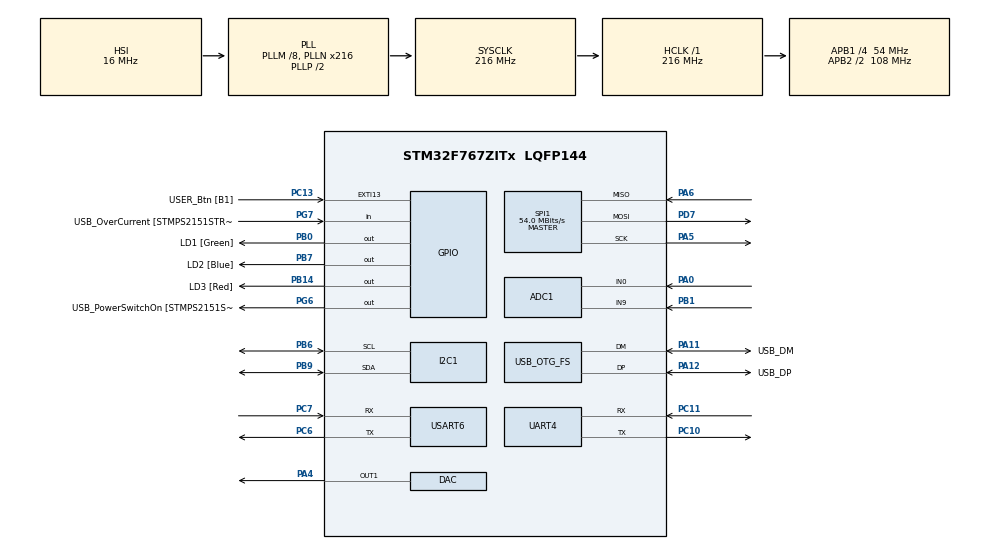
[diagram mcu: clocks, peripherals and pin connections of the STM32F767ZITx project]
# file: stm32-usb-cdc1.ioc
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ADC1.Channel-0\#ChannelRegularConversion=ADC_CHANNEL_0
ADC1.NbrOfConversionFlag=1
ADC1.Rank-0\#ChannelRegularConversion=1
ADC1.SamplingTime-0\#ChannelRegularConversion=ADC_SAMPLETIME_3CYCLES
ADC1.master=1
Dma.Request0=USART6_RX
Dma.Request1=USART6_TX
Dma.Request2=UART4_RX
Dma.Request3=UART4_TX
Dma.UART4_RX.2.Direction=DMA_PERIPH_TO_MEMORY
Dma.UART4_RX.2.FIFOMode=DMA_FIFOMODE_ENABLE
Dma.UART4_RX.2.FIFOThreshold=DMA_FIFO_THRESHOLD_FULL
Dma.UART4_RX.2.Instance=DMA1_Stream2
Dma.UART4_RX.2.MemBurst=DMA_MBURST_SINGLE
Dma.UART4_RX.2.MemDataAlignment=DMA_MDATAALIGN_BYTE
Dma.UART4_RX.2.MemInc=DMA_MINC_ENABLE
Dma.UART4_RX.2.Mode=DMA_NORMAL
Dma.UART4_RX.2.PeriphBurst=DMA_PBURST_SINGLE
Dma.UART4_RX.2.PeriphDataAlignment=DMA_PDATAALIGN_BYTE
Dma.UART4_RX.2.PeriphInc=DMA_PINC_DISABLE
Dma.UART4_RX.2.Priority=DMA_PRIORITY_LOW
Dma.UART4_TX.3.Direction=DMA_MEMORY_TO_PERIPH
Dma.UART4_TX.3.FIFOMode=DMA_FIFOMODE_ENABLE
Dma.UART4_TX.3.FIFOThreshold=DMA_FIFO_THRESHOLD_FULL
Dma.UART4_TX.3.Instance=DMA1_Stream4
Dma.UART4_TX.3.MemBurst=DMA_MBURST_SINGLE
Dma.UART4_TX.3.MemDataAlignment=DMA_MDATAALIGN_BYTE
Dma.UART4_TX.3.MemInc=DMA_MINC_ENABLE
Dma.UART4_TX.3.Mode=DMA_NORMAL
Dma.UART4_TX.3.PeriphBurst=DMA_PBURST_SINGLE
Dma.UART4_TX.3.PeriphDataAlignment=DMA_PDATAALIGN_BYTE
Dma.UART4_TX.3.PeriphInc=DMA_PINC_DISABLE
Dma.UART4_TX.3.Priority=DMA_PRIORITY_LOW
Dma.USART6_RX.0.Direction=DMA_PERIPH_TO_MEMORY
Dma.USART6_RX.0.FIFOMode=DMA_FIFOMODE_ENABLE
Dma.USART6_RX.0.FIFOThreshold=DMA_FIFO_THRESHOLD_FULL
Dma.USART6_RX.0.Instance=DMA2_Stream1
Dma.USART6_RX.0.MemBurst=DMA_MBURST_SINGLE
Dma.USART6_RX.0.MemDataAlignment=DMA_MDATAALIGN_BYTE
Dma.USART6_RX.0.MemInc=DMA_MINC_ENABLE
Dma.USART6_RX.0.Mode=DMA_NORMAL
Dma.USART6_RX.0.PeriphBurst=DMA_PBURST_SINGLE
Dma.USART6_RX.0.PeriphDataAlignment=DMA_PDATAALIGN_BYTE
Dma.USART6_RX.0.PeriphInc=DMA_PINC_DISABLE
Dma.USART6_RX.0.Priority=DMA_PRIORITY_LOW
Dma.USART6_TX.1.Direction=DMA_MEMORY_TO_PERIPH
Dma.USART6_TX.1.FIFOMode=DMA_FIFOMODE_ENABLE
Dma.USART6_TX.1.FIFOThreshold=DMA_FIFO_THRESHOLD_FULL
Dma.USART6_TX.1.Instance=DMA2_Stream6
Dma.USART6_TX.1.MemBurst=DMA_MBURST_SINGLE
Dma.USART6_TX.1.MemDataAlignment=DMA_MDATAALIGN_BYTE
Dma.USART6_TX.1.MemInc=DMA_MINC_ENABLE
Dma.USART6_TX.1.Mode=DMA_NORMAL
Dma.USART6_TX.1.PeriphBurst=DMA_PBURST_SINGLE
Dma.USART6_TX.1.PeriphDataAlignment=DMA_PDATAALIGN_BYTE
Dma.USART6_TX.1.PeriphInc=DMA_PINC_DISABLE
Dma.USART6_TX.1.Priority=DMA_PRIORITY_LOW
I2C1.GeneralCallMode=I2C_GENERALCALL_ENABLE
I2C1.Timing=0x20404768
Mcu.Family=STM32F7
Mcu.Name=STM32F767ZITx
Mcu.Package=LQFP144
NVIC.DMA1_Stream2_IRQn=true\:0\:0\:false\:false\:true\:false\:true
NVIC.DMA1_Stream4_IRQn=true\:0\:0\:false\:false\:true\:false\:true
NVIC.DMA2_Stream1_IRQn=true\:0\:0\:false\:false\:true\:false\:true
NVIC.DMA2_Stream6_IRQn=true\:0\:0\:false\:false\:true\:false\:true
NVIC.OTG_FS_IRQn=true\:0\:0\:false\:false\:true\:false\:true
NVIC.PriorityGroup=NVIC_PRIORITYGROUP_4
NVIC.UART4_IRQn=true\:0\:0\:false\:false\:true\:true\:true
NVIC.USART6_IRQn=true\:0\:0\:false\:false\:true\:true\:true
PA0/WKUP.Signal=ADCx_IN0
PA1.GPIO_Label=RMII_REF_CLK [LAN8742A-CZ-TR_REFCLK0]
PA1.Signal=ETH_REF_CLK
PA11.GPIO_Label=USB_DM
PA11.Mode=Device_Only
PA11.Signal=USB_OTG_FS_DM
PA12.GPIO_Label=USB_DP
PA12.Mode=Device_Only
PA12.Signal=USB_OTG_FS_DP
PA13.GPIO_Label=TMS
PA13.Signal=SYS_JTMS-SWDIO
PA14.GPIO_Label=TCK
PA14.Signal=SYS_JTCK-SWCLK
PA2.GPIO_Label=RMII_MDIO [LAN8742A-CZ-TR_MDIO]
PA2.Signal=ETH_MDIO
PA4.Signal=COMP_DAC1_group
PA5.Mode=Full_Duplex_Master
PA5.Signal=SPI1_SCK
PA6.Mode=Full_Duplex_Master
PA6.Signal=SPI1_MISO
PA7.GPIO_Label=RMII_CRS_DV [LAN8742A-CZ-TR_CRS_DV]
PA7.Signal=ETH_CRS_DV
PA8.GPIO_Label=USB_SOF [TP1]
PA8.Signal=USB_OTG_FS_SOF
PB0.GPIO_Label=LD1 [Green]
PB0.Signal=GPIO_Output
PB1.Signal=ADCx_IN9
PB13.GPIO_Label=RMII_TXD1 [LAN8742A-CZ-TR_TXD1]
PB13.Signal=ETH_TXD1
PB14.GPIO_Label=LD3 [Red]
PB14.Signal=GPIO_Output
PB3.GPIO_Label=SW0
PB3.Signal=SYS_JTDO-SWO
PB6.Mode=I2C
PB6.Signal=I2C1_SCL
PB7.GPIO_Label=LD2 [Blue]
PB7.Signal=GPIO_Output
PB9.Mode=I2C
PB9.Signal=I2C1_SDA
PC1.GPIO_Label=RMII_MDC [LAN8742A-CZ-TR_MDC]
PC1.Signal=ETH_MDC
PC10.Mode=Asynchronous
PC10.Signal=UART4_TX
PC11.Mode=Asynchronous
PC11.Signal=UART4_RX
PC13.GPIO_Label=USER_Btn [B1]
PC13.Signal=GPXTI13
PC14/OSC32_IN.Signal=RCC_OSC32_IN
PC15/OSC32_OUT.Signal=RCC_OSC32_OUT
PC4.GPIO_Label=RMII_RXD0 [LAN8742A-CZ-TR_RXD0]
PC4.Signal=ETH_RXD0
PC5.GPIO_Label=RMII_RXD1 [LAN8742A-CZ-TR_RXD1]
PC5.Signal=ETH_RXD1
PC6.Mode=Asynchronous
PC6.Signal=USART6_TX
PC7.Mode=Asynchronous
PC7.Signal=USART6_RX
PD7.Mode=Full_Duplex_Master
PD7.Signal=SPI1_MOSI
PD8.GPIO_Label=STLK_RX [STM32F103CBT6_PA3]
PD8.Signal=USART3_TX
PD9.GPIO_Label=STLK_TX [STM32F103CBT6_PA2]
PD9.Signal=USART3_RX
PG11.GPIO_Label=RMII_TX_EN [LAN8742A-CZ-TR_TXEN]
PG11.Signal=ETH_TX_EN
PG13.GPIO_Label=RMII_TXD0 [LAN8742A-CZ-TR_TXD0]
PG13.Signal=ETH_TXD0
PG6.GPIO_Label=USB_PowerSwitchOn [STMPS2151STR_EN]
PG6.Signal=GPIO_Output
PG7.GPIO_Label=USB_OverCurrent [STMPS2151STR_FAULT]
PG7.Signal=GPIO_Input
PH0/OSC_IN.GPIO_Label=MCO [STM32F103CBT6_PA8]
PH0/OSC_IN.Mode=HSE-External-Clock-Source
PH0/OSC_IN.Signal=RCC_OSC_IN
PH1/OSC_OUT.Mode=HSE-External-Clock-Source
PH1/OSC_OUT.Signal=RCC_OSC_OUT
ProjectManager.HeapSize=0x200
ProjectManager.StackSize=0x400
ProjectManager.TargetToolchain=Makefile
RCC.48MHZClocksFreq_Value=24000000
RCC.AHBFreq_Value=216000000
RCC.APB1CLKDivider=RCC_HCLK_DIV4
RCC.APB1Freq_Value=54000000
RCC.APB1TimFreq_Value=108000000
RCC.APB2CLKDivider=RCC_HCLK_DIV2
RCC.APB2Freq_Value=108000000
RCC.APB2TimFreq_Value=216000000
RCC.CortexFreq_Value=216000000
RCC.HCLKFreq_Value=216000000
RCC.HSE_VALUE=8000000
RCC.HSI_VALUE=16000000
RCC.LSE_VALUE=32768
RCC.PLL48CLockSelection=RCC_CLK48SOURCE_PLLSAIP
RCC.PLLM=8
RCC.PLLMUL=RCC_PLL_MUL9
RCC.PLLN=432
RCC.PLLQ=9
RCC.PLLSAIN=384
RCC.PLLSAIP=RCC_PLLSAIP_DIV8
RCC.PRESCALERUSB=RCC_USBCLKSOURCE_PLL_DIV1_5
RCC.SYSCLKFreq_VALUE=216000000
RCC.SYSCLKSource=RCC_SYSCLKSOURCE_PLLCLK
RCC.SYSCLKSourceVirtual=RCC_SYSCLKSOURCE_PLLCLK
RCC.USBFreq_Value=48000000
RCC.VCOOutputFreq_Value=432000000
SH.ADCx_IN0.0=ADC1_IN0,IN0
SH.ADCx_IN9.0=ADC1_IN9,IN9
SH.COMP_DAC1_group.0=DAC_OUT1,DAC_OUT1
SPI1.CalculateBaudRate=54.0 MBits/s
SPI1.Direction=SPI_DIRECTION_2LINES
SPI1.Mode=SPI_MODE_MASTER
SPI1.VirtualType=VM_MASTER
USART6.VirtualMode-Asynchronous=VM_ASYNC
USB_DEVICE.CLASS_NAME_FS=CDC
USB_DEVICE.VirtualMode-CDC_FS=Cdc
USB_DEVICE.VirtualModeFS=Cdc_FS
USB_OTG_FS.VirtualMode=Device_Only
VP_USB_DEVICE_VS_USB_DEVICE_CDC_FS.Mode=CDC_FS
board=NUCLEO-F767ZI

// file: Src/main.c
/* USER CODE BEGIN Header */
/**
  ******************************************************************************
  * @file           : main.c
  * @brief          : Main program body
  ******************************************************************************
  * @attention
  *
  * <h2><center>&copy; Copyright (c) 2019 STMicroelectronics.
  * All rights reserved.</center></h2>
  *
  * This software component is licensed by ST under Ultimate Liberty license
  * SLA0044, the "License"; You may not use this file except in compliance with
  * the License. You may obtain a copy of the License at:
  *                             www.st.com/SLA0044
  *
  ******************************************************************************
  */
/* USER CODE END Header */
#include "main.h"
#include "usb_device.h"
#include "usbd_iad_if.h"

ADC_HandleTypeDef hadc1;

DAC_HandleTypeDef hdac;

I2C_HandleTypeDef hi2c1;

SPI_HandleTypeDef hspi1;

UART_HandleTypeDef huart4;
UART_HandleTypeDef huart6;
DMA_HandleTypeDef hdma_uart4_rx;
DMA_HandleTypeDef hdma_uart4_tx;
DMA_HandleTypeDef hdma_usart6_rx;
DMA_HandleTypeDef hdma_usart6_tx;

void SystemClock_Config(void);
static void MX_GPIO_Init(void);
static void MX_DMA_Init(void);
static void MX_ADC1_Init(void);
static void MX_DAC_Init(void);
static void MX_I2C1_Init(void);
static void MX_USART6_UART_Init(void);
static void MX_SPI1_Init(void);
static void MX_UART4_Init(void);

int main(void)
{

  /* MCU Configuration--------------------------------------------------------*/

  /* Reset of all peripherals, Initializes the Flash interface and the Systick. */
  HAL_Init();

  /* Configure the system clock */
  SystemClock_Config();

  /* Initialize all configured peripherals */
  MX_GPIO_Init();
  MX_DMA_Init();
  MX_USB_DEVICE_Init();
  MX_ADC1_Init();
  MX_DAC_Init();
  MX_I2C1_Init();
  MX_USART6_UART_Init();
  MX_SPI1_Init();
  MX_UART4_Init();

  /* Infinite loop */
  /* USER CODE BEGIN WHILE */

	uint8_t msg1[16], msg2[16];
	uint32_t totalLen;
	uint8_t result;

  HAL_Init();

	while (1) {
    /* USER CODE END WHILE */

    /* USER CODE BEGIN 3 */

		totalLen = 16;
		msg1[0] = '.';
		result = CDC_Receive_VCP1_FS(msg1, &totalLen);

		if (result == USBD_OK && totalLen != 0) {
//		    ch = result;
//			IAD_CDC2_Transmit_FS(msg1, totalLen);
//            MX_USART_Putc(USART3, msg1);
		HAL_Delay(100);
}
		totalLen = 16;
		msg2[0] = '.';
		result = CDC_Receive_VCP2_FS(msg2, &totalLen);
		if (result == USBD_OK && totalLen != 0) {
			IAD_CDC1_Transmit_FS(msg2, totalLen);

		HAL_Delay(100);
      }
//			if (ch != 0) {
				/* Send character to USART */
				//uint8_t buffer[4];
//                HAL_USART_Transmit(&husart6, &ch, 1, 100);
//			}

			/* CHeck if any character received from USART */
//			while (!USART_BufferEmpty(USART3)) {
				/* Send data over USB CDC */
//				IAD_CDC1_Transmit_FS(hUsbDeviceFS, MX_USART_Getc(USART3));
//		}

    }
  /* USER CODE END 3 */
}

void SystemClock_Config(void)
{
  RCC_OscInitTypeDef RCC_OscInitStruct = {0};
  RCC_ClkInitTypeDef RCC_ClkInitStruct = {0};
  RCC_PeriphCLKInitTypeDef PeriphClkInitStruct = {0};

  /** Configure the main internal regulator output voltage
  */
  __HAL_RCC_PWR_CLK_ENABLE();
  __HAL_PWR_VOLTAGESCALING_CONFIG(PWR_REGULATOR_VOLTAGE_SCALE1);
  /** Initializes the RCC Oscillators according to the specified parameters
  * in the RCC_OscInitTypeDef structure.
  */
  RCC_OscInitStruct.OscillatorType = RCC_OSCILLATORTYPE_HSI;
  RCC_OscInitStruct.HSIState = RCC_HSI_ON;
  RCC_OscInitStruct.HSICalibrationValue = 16;
  RCC_OscInitStruct.PLL.PLLState = RCC_PLL_ON;
  RCC_OscInitStruct.PLL.PLLSource = RCC_PLLSOURCE_HSI;
  RCC_OscInitStruct.PLL.PLLM = 8;
  RCC_OscInitStruct.PLL.PLLN = 216;
  RCC_OscInitStruct.PLL.PLLP = RCC_PLLP_DIV2;
  RCC_OscInitStruct.PLL.PLLQ = 9;
  HAL_RCC_OscConfig(&RCC_OscInitStruct);

     /* Activate the Over-Drive mode */
  HAL_PWREx_EnableOverDrive();

   /* Initializes the CPU, AHB and APB busses clocks */
  RCC_ClkInitStruct.ClockType = RCC_CLOCKTYPE_HCLK | RCC_CLOCKTYPE_SYSCLK
                                | RCC_CLOCKTYPE_PCLK1 | RCC_CLOCKTYPE_PCLK2;
  RCC_ClkInitStruct.SYSCLKSource = RCC_SYSCLKSOURCE_PLLCLK;
  RCC_ClkInitStruct.AHBCLKDivider = RCC_SYSCLK_DIV1;
  RCC_ClkInitStruct.APB1CLKDivider = RCC_HCLK_DIV4;
  RCC_ClkInitStruct.APB2CLKDivider = RCC_HCLK_DIV2;

  HAL_RCC_ClockConfig(&RCC_ClkInitStruct, FLASH_LATENCY_7);
  PeriphClkInitStruct.PeriphClockSelection = RCC_PERIPHCLK_CLK48;
  PeriphClkInitStruct.Clk48ClockSelection = RCC_CLK48SOURCE_PLL;

  HAL_RCCEx_PeriphCLKConfig(&PeriphClkInitStruct);

  HAL_SYSTICK_Config(HAL_RCC_GetHCLKFreq()/1000);

  HAL_SYSTICK_CLKSourceConfig(SYSTICK_CLKSOURCE_HCLK);

  HAL_NVIC_SetPriority(SysTick_IRQn, 0, 0);
}

static void MX_ADC1_Init(void)
{

  ADC_ChannelConfTypeDef sConfig = {0};

  /** Configure the global features of the ADC (Clock, Resolution, Data Alignment and number of conversion)
  */
  hadc1.Instance = ADC1;
  hadc1.Init.ClockPrescaler = ADC_CLOCK_SYNC_PCLK_DIV4;
  hadc1.Init.Resolution = ADC_RESOLUTION_12B;
  hadc1.Init.ScanConvMode = ADC_SCAN_DISABLE;
  hadc1.Init.ContinuousConvMode = DISABLE;
  hadc1.Init.DiscontinuousConvMode = DISABLE;
  hadc1.Init.ExternalTrigConvEdge = ADC_EXTERNALTRIGCONVEDGE_NONE;
  hadc1.Init.ExternalTrigConv = ADC_SOFTWARE_START;
  hadc1.Init.DataAlign = ADC_DATAALIGN_RIGHT;
  hadc1.Init.NbrOfConversion = 1;
  hadc1.Init.DMAContinuousRequests = DISABLE;
  hadc1.Init.EOCSelection = ADC_EOC_SINGLE_CONV;
  if (HAL_ADC_Init(&hadc1) != HAL_OK)
  {
    Error_Handler();
  }
  /** Configure for the selected ADC regular channel its corresponding rank in the sequencer and its sample time.
  */
  sConfig.Channel = ADC_CHANNEL_0;
  sConfig.Rank = ADC_REGULAR_RANK_1;
  sConfig.SamplingTime = ADC_SAMPLETIME_3CYCLES;
  if (HAL_ADC_ConfigChannel(&hadc1, &sConfig) != HAL_OK)
  {
    Error_Handler();
  }

}

static void MX_DAC_Init(void)
{

  DAC_ChannelConfTypeDef sConfig = {0};

  /** DAC Initialization
  */
  hdac.Instance = DAC;
  if (HAL_DAC_Init(&hdac) != HAL_OK)
  {
    Error_Handler();
  }
  /** DAC channel OUT1 config
  */
  sConfig.DAC_Trigger = DAC_TRIGGER_NONE;
  sConfig.DAC_OutputBuffer = DAC_OUTPUTBUFFER_ENABLE;
  if (HAL_DAC_ConfigChannel(&hdac, &sConfig, DAC_CHANNEL_1) != HAL_OK)
  {
    Error_Handler();
  }

}

static void MX_I2C1_Init(void)
{

  hi2c1.Instance = I2C1;
  hi2c1.Init.Timing = 0x20404768;
  hi2c1.Init.OwnAddress1 = 0;
  hi2c1.Init.AddressingMode = I2C_ADDRESSINGMODE_7BIT;
  hi2c1.Init.DualAddressMode = I2C_DUALADDRESS_DISABLE;
  hi2c1.Init.OwnAddress2 = 0;
  hi2c1.Init.OwnAddress2Masks = I2C_OA2_NOMASK;
  hi2c1.Init.GeneralCallMode = I2C_GENERALCALL_ENABLE;
  hi2c1.Init.NoStretchMode = I2C_NOSTRETCH_DISABLE;
  if (HAL_I2C_Init(&hi2c1) != HAL_OK)
  {
    Error_Handler();
  }
  /** Configure Analogue filter
  */
  if (HAL_I2CEx_ConfigAnalogFilter(&hi2c1, I2C_ANALOGFILTER_ENABLE) != HAL_OK)
  {
    Error_Handler();
  }
  /** Configure Digital filter
  */
  if (HAL_I2CEx_ConfigDigitalFilter(&hi2c1, 0) != HAL_OK)
  {
    Error_Handler();
  }

}

static void MX_SPI1_Init(void)
{

  /* SPI1 parameter configuration*/
  hspi1.Instance = SPI1;
  hspi1.Init.Mode = SPI_MODE_MASTER;
  hspi1.Init.Direction = SPI_DIRECTION_2LINES;
  hspi1.Init.DataSize = SPI_DATASIZE_4BIT;
  hspi1.Init.CLKPolarity = SPI_POLARITY_LOW;
  hspi1.Init.CLKPhase = SPI_PHASE_1EDGE;
  hspi1.Init.NSS = SPI_NSS_SOFT;
  hspi1.Init.BaudRatePrescaler = SPI_BAUDRATEPRESCALER_2;
  hspi1.Init.FirstBit = SPI_FIRSTBIT_MSB;
  hspi1.Init.TIMode = SPI_TIMODE_DISABLE;
  hspi1.Init.CRCCalculation = SPI_CRCCALCULATION_DISABLE;
  hspi1.Init.CRCPolynomial = 7;
  hspi1.Init.CRCLength = SPI_CRC_LENGTH_DATASIZE;
  hspi1.Init.NSSPMode = SPI_NSS_PULSE_ENABLE;
  if (HAL_SPI_Init(&hspi1) != HAL_OK)
  {
    Error_Handler();
  }

}

static void MX_UART4_Init(void)
{

  huart4.Instance = UART4;
  huart4.Init.BaudRate = 115200;
  huart4.Init.WordLength = UART_WORDLENGTH_8B;
  huart4.Init.StopBits = UART_STOPBITS_1;
  huart4.Init.Parity = UART_PARITY_NONE;
  huart4.Init.Mode = UART_MODE_TX_RX;
  huart4.Init.HwFlowCtl = UART_HWCONTROL_NONE;
  huart4.Init.OverSampling = UART_OVERSAMPLING_16;
  huart4.Init.OneBitSampling = UART_ONE_BIT_SAMPLE_DISABLE;
  huart4.AdvancedInit.AdvFeatureInit = UART_ADVFEATURE_NO_INIT;
  if (HAL_UART_Init(&huart4) != HAL_OK)
  {
    Error_Handler();
  }

}

static void MX_USART6_UART_Init(void)
{

  huart6.Instance = USART6;
  huart6.Init.BaudRate = 115200;
  huart6.Init.WordLength = UART_WORDLENGTH_8B;
  huart6.Init.StopBits = UART_STOPBITS_1;
  huart6.Init.Parity = UART_PARITY_NONE;
  huart6.Init.Mode = UART_MODE_TX_RX;
  huart6.Init.HwFlowCtl = UART_HWCONTROL_NONE;
  huart6.Init.OverSampling = UART_OVERSAMPLING_16;
  huart6.Init.OneBitSampling = UART_ONE_BIT_SAMPLE_DISABLE;
  huart6.AdvancedInit.AdvFeatureInit = UART_ADVFEATURE_NO_INIT;
  if (HAL_UART_Init(&huart6) != HAL_OK)
  {
    Error_Handler();
  }

}

static void MX_DMA_Init(void)
{

  /* DMA controller clock enable */
  __HAL_RCC_DMA2_CLK_ENABLE();
  __HAL_RCC_DMA1_CLK_ENABLE();

  /* DMA interrupt init */
  /* DMA1_Stream2_IRQn interrupt configuration */
  HAL_NVIC_SetPriority(DMA1_Stream2_IRQn, 0, 0);
  HAL_NVIC_EnableIRQ(DMA1_Stream2_IRQn);
  /* DMA1_Stream4_IRQn interrupt configuration */
  HAL_NVIC_SetPriority(DMA1_Stream4_IRQn, 0, 0);
  HAL_NVIC_EnableIRQ(DMA1_Stream4_IRQn);
  /* DMA2_Stream1_IRQn interrupt configuration */
  HAL_NVIC_SetPriority(DMA2_Stream1_IRQn, 0, 0);
  HAL_NVIC_EnableIRQ(DMA2_Stream1_IRQn);
  /* DMA2_Stream6_IRQn interrupt configuration */
  HAL_NVIC_SetPriority(DMA2_Stream6_IRQn, 0, 0);
  HAL_NVIC_EnableIRQ(DMA2_Stream6_IRQn);

}

static void MX_GPIO_Init(void)
{
  GPIO_InitTypeDef GPIO_InitStruct = {0};

  /* GPIO Ports Clock Enable */
  __HAL_RCC_GPIOC_CLK_ENABLE();
  __HAL_RCC_GPIOH_CLK_ENABLE();
  __HAL_RCC_GPIOA_CLK_ENABLE();
  __HAL_RCC_GPIOB_CLK_ENABLE();
  __HAL_RCC_GPIOD_CLK_ENABLE();
  __HAL_RCC_GPIOG_CLK_ENABLE();

  /*Configure GPIO pin Output Level */
  HAL_GPIO_WritePin(GPIOB, LD1_Pin|LD3_Pin|LD2_Pin, GPIO_PIN_RESET);

  /*Configure GPIO pin Output Level */
  HAL_GPIO_WritePin(USB_PowerSwitchOn_GPIO_Port, USB_PowerSwitchOn_Pin, GPIO_PIN_RESET);

  /*Configure GPIO pin : USER_Btn_Pin */
  GPIO_InitStruct.Pin = USER_Btn_Pin;
  GPIO_InitStruct.Mode = GPIO_MODE_IT_RISING;
  GPIO_InitStruct.Pull = GPIO_NOPULL;
  HAL_GPIO_Init(USER_Btn_GPIO_Port, &GPIO_InitStruct);

  /*Configure GPIO pins : RMII_MDC_Pin RMII_RXD0_Pin RMII_RXD1_Pin */
  GPIO_InitStruct.Pin = RMII_MDC_Pin|RMII_RXD0_Pin|RMII_RXD1_Pin;
  GPIO_InitStruct.Mode = GPIO_MODE_AF_PP;
  GPIO_InitStruct.Pull = GPIO_NOPULL;
  GPIO_InitStruct.Speed = GPIO_SPEED_FREQ_VERY_HIGH;
  GPIO_InitStruct.Alternate = GPIO_AF11_ETH;
  HAL_GPIO_Init(GPIOC, &GPIO_InitStruct);

  /*Configure GPIO pins : RMII_REF_CLK_Pin RMII_MDIO_Pin RMII_CRS_DV_Pin */
  GPIO_InitStruct.Pin = RMII_REF_CLK_Pin|RMII_MDIO_Pin|RMII_CRS_DV_Pin;
  GPIO_InitStruct.Mode = GPIO_MODE_AF_PP;
  GPIO_InitStruct.Pull = GPIO_NOPULL;
  GPIO_InitStruct.Speed = GPIO_SPEED_FREQ_VERY_HIGH;
  GPIO_InitStruct.Alternate = GPIO_AF11_ETH;
  HAL_GPIO_Init(GPIOA, &GPIO_InitStruct);

  /*Configure GPIO pins : LD1_Pin LD3_Pin LD2_Pin */
  GPIO_InitStruct.Pin = LD1_Pin|LD3_Pin|LD2_Pin;
  GPIO_InitStruct.Mode = GPIO_MODE_OUTPUT_PP;
  GPIO_InitStruct.Pull = GPIO_NOPULL;
  GPIO_InitStruct.Speed = GPIO_SPEED_FREQ_LOW;
  HAL_GPIO_Init(GPIOB, &GPIO_InitStruct);

  /*Configure GPIO pin : RMII_TXD1_Pin */
  GPIO_InitStruct.Pin = RMII_TXD1_Pin;
  GPIO_InitStruct.Mode = GPIO_MODE_AF_PP;
  GPIO_InitStruct.Pull = GPIO_NOPULL;
  GPIO_InitStruct.Speed = GPIO_SPEED_FREQ_VERY_HIGH;
  GPIO_InitStruct.Alternate = GPIO_AF11_ETH;
  HAL_GPIO_Init(RMII_TXD1_GPIO_Port, &GPIO_InitStruct);

  /*Configure GPIO pins : STLK_RX_Pin STLK_TX_Pin */
  GPIO_InitStruct.Pin = STLK_RX_Pin|STLK_TX_Pin;
  GPIO_InitStruct.Mode = GPIO_MODE_AF_PP;
  GPIO_InitStruct.Pull = GPIO_NOPULL;
  GPIO_InitStruct.Speed = GPIO_SPEED_FREQ_VERY_HIGH;
  GPIO_InitStruct.Alternate = GPIO_AF7_USART3;
  HAL_GPIO_Init(GPIOD, &GPIO_InitStruct);

  /*Configure GPIO pin : USB_PowerSwitchOn_Pin */
  GPIO_InitStruct.Pin = USB_PowerSwitchOn_Pin;
  GPIO_InitStruct.Mode = GPIO_MODE_OUTPUT_PP;
  GPIO_InitStruct.Pull = GPIO_NOPULL;
  GPIO_InitStruct.Speed = GPIO_SPEED_FREQ_LOW;
  HAL_GPIO_Init(USB_PowerSwitchOn_GPIO_Port, &GPIO_InitStruct);

  /*Configure GPIO pin : USB_OverCurrent_Pin */
  GPIO_InitStruct.Pin = USB_OverCurrent_Pin;
  GPIO_InitStruct.Mode = GPIO_MODE_INPUT;
  GPIO_InitStruct.Pull = GPIO_NOPULL;
  HAL_GPIO_Init(USB_OverCurrent_GPIO_Port, &GPIO_InitStruct);

  /*Configure GPIO pins : RMII_TX_EN_Pin RMII_TXD0_Pin */
  GPIO_InitStruct.Pin = RMII_TX_EN_Pin|RMII_TXD0_Pin;
  GPIO_InitStruct.Mode = GPIO_MODE_AF_PP;
  GPIO_InitStruct.Pull = GPIO_NOPULL;
  GPIO_InitStruct.Speed = GPIO_SPEED_FREQ_VERY_HIGH;
  GPIO_InitStruct.Alternate = GPIO_AF11_ETH;
  HAL_GPIO_Init(GPIOG, &GPIO_InitStruct);

}

void Error_Handler(void)
{
  /* USER CODE BEGIN Error_Handler_Debug */
  /* User can add his own implementation to report the HAL error return state */
  // RED LED LD3 on fatal error.
  HAL_GPIO_WritePin(GPIOB, LD3_Pin, GPIO_PIN_SET);
  while(1){
	  // loop forever (halt)
  }

  /* USER CODE END Error_Handler_Debug */
}

/************************ (C) COPYRIGHT STMicroelectronics *****END OF FILE****/
